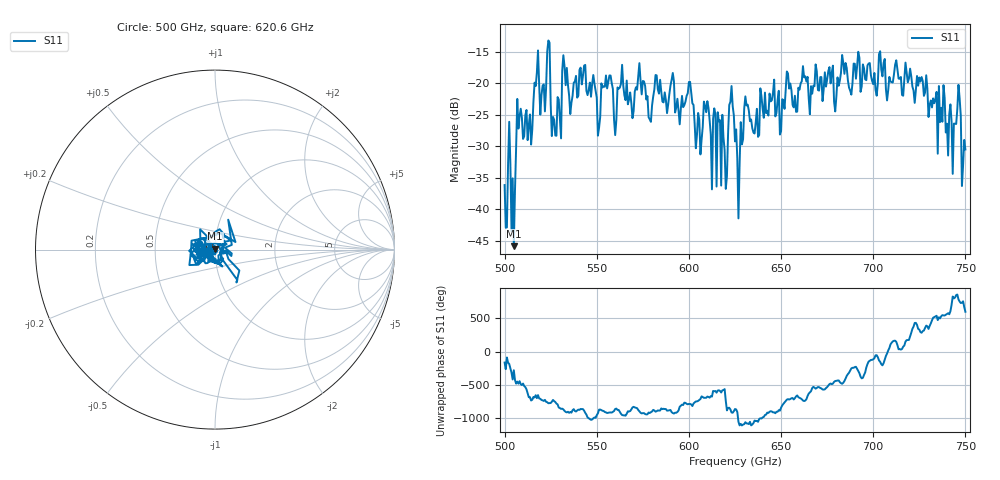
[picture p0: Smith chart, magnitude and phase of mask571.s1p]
!Created with skrf (http://scikit-rf.org).
# GHz S MA R 50.0
!freq magS11 angS11
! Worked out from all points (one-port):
!   401 points, 500 GHz to 750 GHz, reference 50 ohm
!   lowest |S11| = -45.9 dB at 505 GHz (marker M1), VSWR 1.01, Z = 50.1 + j0.502 ohm
!   |S11| at or under -10 dB: start of sweep to end of sweep
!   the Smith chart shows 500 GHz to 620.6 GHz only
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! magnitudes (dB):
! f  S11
! 500 GHz  -36.2
! 503.1 GHz  -32.7
! 505 GHz  -45.9
! 508.1 GHz  -25.2
! 513.8 GHz  -25.0
! 516.9 GHz  -20.5
! 520.6 GHz  -20.4
! 523.8 GHz  -13.2
! 526.9 GHz  -25.8
! 531.2 GHz  -18.0
! 542.5 GHz  -18.8
! 550.6 GHz  -28.3
! 562.5 GHz  -20.7
! 593.8 GHz  -22.5
! 600 GHz  -19.8
! 605 GHz  -24.7
! 609.4 GHz  -24.6
! 620 GHz  -36.8
! 623.1 GHz  -20.4
! 625 GHz  -29.2
! 627.5 GHz  -32.8
! 631.2 GHz  -23.5
! 656.2 GHz  -23.4
! 687.5 GHz  -21.2
! 718.8 GHz  -19.8
! 741.9 GHz  -23.4
! 746.2 GHz  -20.3
! 750 GHz  -30.5
